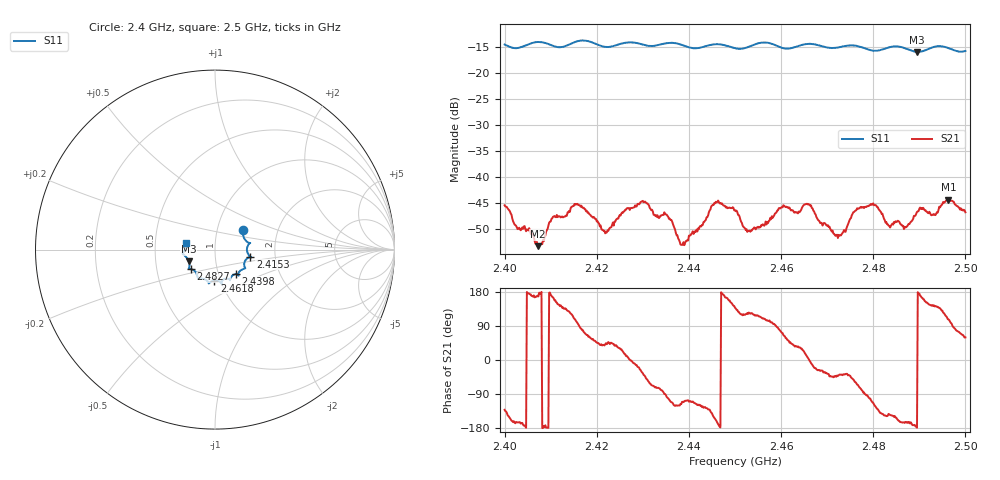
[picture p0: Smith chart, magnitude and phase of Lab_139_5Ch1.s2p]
# Hz S RI R 50
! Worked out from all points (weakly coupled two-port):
!   601 points, 2.4 GHz to 2.5 GHz, reference 50 ohm
!   highest |S21| = -44.36 dB at 2.4963 GHz (marker M1); lowest = -53.3 dB at 2.4072 GHz (marker M2)
!   lowest |S11| = -15.9 dB at 2.4895 GHz (marker M3), VSWR 1.38, Z = 37 - j5.02 ohm
!   |S11| at or under -10 dB: start of sweep to end of sweep
!   S12 and S22 are empty: the file has one direction only
!   S11 on the Smith chart (normalised r, x): 2.4 GHz: 1.33, +0.30; 2.4153 GHz: 1.48, -0.12; 2.4398 GHz: 1.21, -0.34; 2.4618 GHz: 0.94, -0.33; 2.4827 GHz: 0.75, -0.17; 2.5 GHz: 0.72, +0.06
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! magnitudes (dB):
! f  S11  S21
! 2.4 GHz  -14.5  -45.4
! 2.4072 GHz  -14.0  -53.3
! 2.4103 GHz  -14.7  -47.9
! 2.4153 GHz  -14.0  -45.3
! 2.4167 GHz  -13.7  -45.5
! 2.422 GHz  -15.0  -50.6
! 2.43 GHz  -14.5  -44.6
! 2.4333 GHz  -14.6  -47.8
! 2.4398 GHz  -15.0  -52.2
! 2.4458 GHz  -14.4  -44.8
! 2.45 GHz  -15.2  -46.4
! 2.4532 GHz  -14.8  -50.3
! 2.4618 GHz  -15.2  -45.9
! 2.4667 GHz  -14.4  -46.0
! 2.4722 GHz  -15.1  -51.1
! 2.477 GHz  -14.9  -46.0
! 2.4805 GHz  -15.7  -45.4
! 2.4827 GHz  -15.2  -48.8
! 2.4833 GHz  -15.1  -49.3
! 2.4895 GHz  -15.9  -46.7
! 2.4963 GHz  -15.2  -44.4
! 2.5 GHz  -15.7  -46.8
